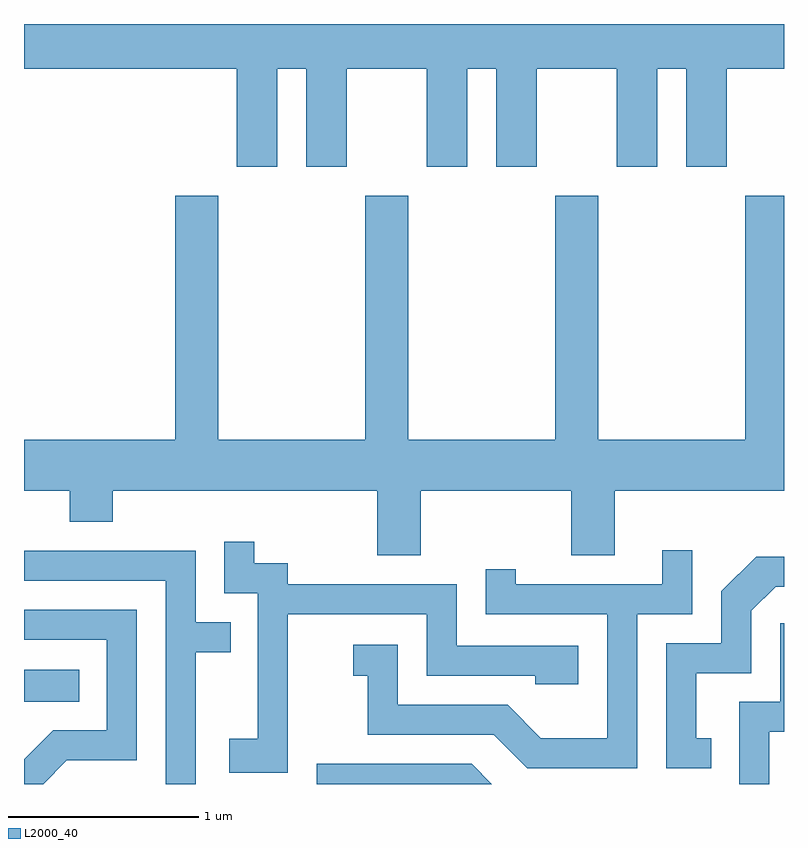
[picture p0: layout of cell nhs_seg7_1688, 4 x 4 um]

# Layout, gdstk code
import gdstk
lib = gdstk.Library(unit=1e-6, precision=1e-09)
def R(c, l, rs):  # rectangles x0, y0, x1, y1
    for r in rs: c.add(gdstk.rectangle(r[:2], r[2:], *l))
def P(c, l, *ps):  # polygons
    for p in ps: c.add(gdstk.Polygon(p, *l))
L2000_40 = (2000, 40)

nhs_seg7_1688 = lib.new_cell('nhs_seg7_1688')
R(nhs_seg7_1688, L2000_40, [(235.611,1788.686,235.903,1788.854)])
P(nhs_seg7_1688, L2000_40, [(235.611,1792.016),(236.731,1792.016),(236.731,1791.501),(236.944,1791.501),(236.944,1792.016),(237.096,1792.016),(237.096,1791.501),(237.309,1791.501),(237.309,1792.016),(237.731,1792.016),(237.731,1791.501),(237.944,1791.501),(237.944,1792.016),(238.096,1792.016),(238.096,1791.501),(238.309,1791.501),(238.309,1792.016),(238.731,1792.016),(238.731,1791.501),(238.944,1791.501),(238.944,1792.016),(239.096,1792.016),(239.096,1791.501),(239.309,1791.501),(239.309,1792.016),(239.611,1792.016),(239.611,1792.252),(235.611,1792.252)],
  [(237.699,1789.796),(238.491,1789.796),(238.491,1789.456),(238.719,1789.456),(238.719,1789.796),(239.611,1789.796),(239.611,1791.349),(239.406,1791.349),(239.406,1790.064),(238.634,1790.064),(238.634,1791.349),(238.406,1791.349),(238.406,1790.064),(237.634,1790.064),(237.634,1791.349),(237.406,1791.349),(237.406,1790.064),(236.634,1790.064),(236.634,1791.349),(236.406,1791.349),(236.406,1790.064),(235.611,1790.064),(235.611,1789.796),(235.851,1789.796),(235.851,1789.631),(236.079,1789.631),(236.079,1789.796),(237.471,1789.796),(237.471,1789.456),(237.699,1789.456)],
  [(236.999,1789.146),(237.731,1789.146),(237.731,1788.821),(238.301,1788.821),(238.301,1788.776),(238.529,1788.776),(238.529,1788.979),(237.889,1788.979),(237.889,1789.304),(236.999,1789.304),(236.999,1789.414),(236.824,1789.414),(236.824,1789.528),(236.666,1789.528),(236.666,1789.256),(236.841,1789.256),(236.841,1788.489),(236.691,1788.489),(236.691,1788.311),(236.999,1788.311)],
  [(238.839,1789.146),(239.129,1789.146),(239.129,1789.483),(238.971,1789.483),(238.971,1789.304),(238.199,1789.304),(238.199,1789.383),(238.041,1789.383),(238.041,1789.146),(238.681,1789.146),(238.681,1788.494),(238.332,1788.494),(238.157,1788.669),(237.579,1788.669),(237.579,1788.984),(237.343,1788.984),(237.343,1788.821),(237.421,1788.821),(237.421,1788.511),(238.084,1788.511),(238.259,1788.336),(238.839,1788.336)],
  [(236.514,1788.946),(236.698,1788.946),(236.698,1789.104),(236.514,1789.104),(236.514,1789.479),(235.611,1789.479),(235.611,1789.321),(236.356,1789.321),(236.356,1788.252),(236.514,1788.252)],
  [(239.228,1788.494),(239.149,1788.494),(239.149,1788.836),(239.439,1788.836),(239.439,1789.164),(239.567,1789.291),(239.611,1789.291),(239.611,1789.449),(239.464,1789.449),(239.281,1789.267),(239.281,1788.994),(238.991,1788.994),(238.991,1788.336),(239.228,1788.336)],
  [(235.837,1788.376),(236.204,1788.376),(236.204,1789.169),(235.611,1789.169),(235.611,1789.011),(236.046,1789.011),(236.046,1788.534),(235.764,1788.534),(235.611,1788.381),(235.611,1788.252),(235.713,1788.252)],
  [(239.534,1788.526),(239.611,1788.526),(239.611,1789.099),(239.591,1789.099),(239.591,1788.684),(239.376,1788.684),(239.376,1788.252),(239.534,1788.252)],
  [(237.967,1788.359),(237.151,1788.359),(237.151,1788.252),(238.074,1788.252)])

lib.write_gds('nhs_seg7_1688.gds')
